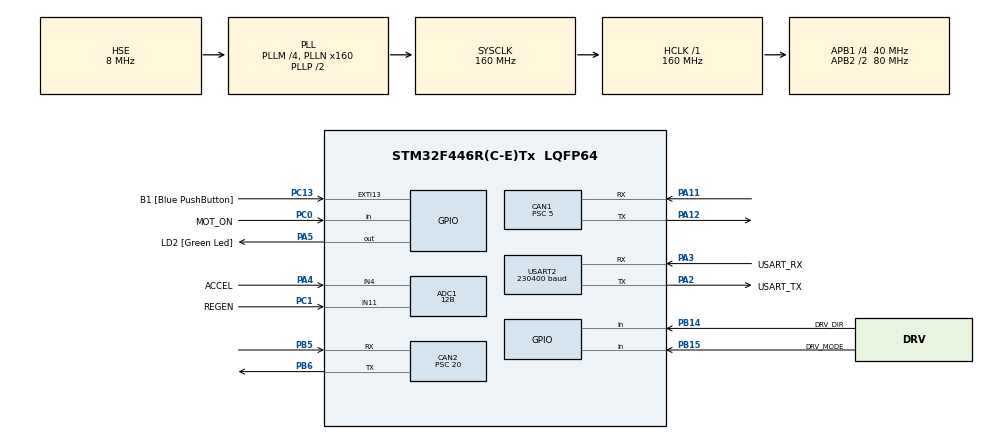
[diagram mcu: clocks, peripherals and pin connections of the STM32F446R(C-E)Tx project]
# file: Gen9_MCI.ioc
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ADC1.Channel-0\#ChannelRegularConversion=ADC_CHANNEL_4
ADC1.Channel-1\#ChannelRegularConversion=ADC_CHANNEL_11
ADC1.ClockPrescaler=ADC_CLOCK_SYNC_PCLK_DIV4
ADC1.ContinuousConvMode=DISABLE
ADC1.DMAContinuousRequests=DISABLE
ADC1.DataAlign=ADC_DATAALIGN_RIGHT
ADC1.DiscontinuousConvMode=DISABLE
ADC1.EOCSelection=ADC_EOC_SINGLE_CONV
ADC1.EnableAnalogWatchDog=false
ADC1.ExternalTrigConv=ADC_SOFTWARE_START
ADC1.ExternalTrigConvEdge=ADC_EXTERNALTRIGCONVEDGE_NONE
ADC1.InjNumberOfConversion=0
ADC1.NbrOfConversion=2
ADC1.NbrOfConversionFlag=1
ADC1.Rank-0\#ChannelRegularConversion=1
ADC1.Rank-1\#ChannelRegularConversion=2
ADC1.Resolution=ADC_RESOLUTION_12B
ADC1.SamplingTime-0\#ChannelRegularConversion=ADC_SAMPLETIME_56CYCLES
ADC1.SamplingTime-1\#ChannelRegularConversion=ADC_SAMPLETIME_56CYCLES
ADC1.ScanConvMode=ENABLE
ADC1.master=1
CAN1.ABOM=ENABLE
CAN1.AWUM=ENABLE
CAN1.BS1=CAN_BS1_13TQ
CAN1.BS2=CAN_BS2_2TQ
CAN1.CalculateTimeBit=2000
CAN1.CalculateTimeQuantum=125.0
CAN1.Mode=CAN_MODE_NORMAL
CAN1.Prescaler=5
CAN1.SJW=CAN_SJW_1TQ
CAN2.ABOM=ENABLE
CAN2.AWUM=ENABLE
CAN2.BS1=CAN_BS1_13TQ
CAN2.BS2=CAN_BS2_2TQ
CAN2.CalculateTimeBit=8000
CAN2.CalculateTimeQuantum=500.0
CAN2.Prescaler=20
Dma.ADC1.2.Direction=DMA_PERIPH_TO_MEMORY
Dma.ADC1.2.FIFOMode=DMA_FIFOMODE_DISABLE
Dma.ADC1.2.Instance=DMA2_Stream0
Dma.ADC1.2.MemDataAlignment=DMA_MDATAALIGN_HALFWORD
Dma.ADC1.2.MemInc=DMA_MINC_ENABLE
Dma.ADC1.2.Mode=DMA_NORMAL
Dma.ADC1.2.PeriphDataAlignment=DMA_PDATAALIGN_HALFWORD
Dma.ADC1.2.PeriphInc=DMA_PINC_DISABLE
Dma.ADC1.2.Priority=DMA_PRIORITY_LOW
Dma.Request0=USART2_RX
Dma.Request1=USART2_TX
Dma.Request2=ADC1
Dma.USART2_RX.0.Direction=DMA_PERIPH_TO_MEMORY
Dma.USART2_RX.0.FIFOMode=DMA_FIFOMODE_DISABLE
Dma.USART2_RX.0.Instance=DMA1_Stream5
Dma.USART2_RX.0.MemDataAlignment=DMA_MDATAALIGN_BYTE
Dma.USART2_RX.0.MemInc=DMA_MINC_ENABLE
Dma.USART2_RX.0.Mode=DMA_CIRCULAR
Dma.USART2_RX.0.PeriphDataAlignment=DMA_PDATAALIGN_BYTE
Dma.USART2_RX.0.PeriphInc=DMA_PINC_DISABLE
Dma.USART2_RX.0.Priority=DMA_PRIORITY_HIGH
Dma.USART2_TX.1.Direction=DMA_MEMORY_TO_PERIPH
Dma.USART2_TX.1.FIFOMode=DMA_FIFOMODE_DISABLE
Dma.USART2_TX.1.Instance=DMA1_Stream6
Dma.USART2_TX.1.MemDataAlignment=DMA_MDATAALIGN_BYTE
Dma.USART2_TX.1.MemInc=DMA_MINC_ENABLE
Dma.USART2_TX.1.Mode=DMA_NORMAL
Dma.USART2_TX.1.PeriphDataAlignment=DMA_PDATAALIGN_BYTE
Dma.USART2_TX.1.PeriphInc=DMA_PINC_DISABLE
Dma.USART2_TX.1.Priority=DMA_PRIORITY_MEDIUM
FREERTOS.INCLUDE_eTaskGetState=1
FREERTOS.INCLUDE_vTaskDelayUntil=1
FREERTOS.INCLUDE_xQueueGetMutexHolder=1
FREERTOS.INCLUDE_xSemaphoreGetMutexHolder=1
FREERTOS.INCLUDE_xTaskGetCurrentTaskHandle=1
FREERTOS.Mutexes01=swMtx,Dynamic,NULL;uartMtx,Dynamic,NULL
FREERTOS.Queues01=mainCanTxQ,32,Can_frame_t,NULL,Dynamic,NULL,NULL;mainCanRxQ,32,Can_frame_t,NULL,Dynamic,NULL,NULL;MotCanTxQ,32,Can_frame_t,NULL,Dynamic,NULL,NULL;motCanRxQ,32,Can_frame_t,NULL,Dynamic,NULL,NULL
FREERTOS.Tasks01=Motor_Ctrl,2,512,doMotCtrl,Default,NULL,Dynamic,NULL,NULL;Can_Processor,1,512,doProcessCan,Default,NULL,Dynamic,NULL,NULL;Housekeeping,-1,512,doHousekeeping,Default,NULL,Dynamic,NULL,NULL;Can2_Processor,0,512,doProcessorMotCan,Default,NULL,Dynamic,NULL,NULL
FREERTOS.Timers01=WWDGTmr,TmrKickDog,osTimerPeriodic,Default,NULL,Dynamic,NULL;HBTmr,TmrSendHB,osTimerPeriodic,Default,NULL,Dynamic,NULL
FREERTOS.configCHECK_FOR_STACK_OVERFLOW=2
FREERTOS.configENABLE_BACKWARD_COMPATIBILITY=0
FREERTOS.configMAX_PRIORITIES=7
FREERTOS.configMINIMAL_STACK_SIZE=512
FREERTOS.configTIMER_QUEUE_LENGTH=8
FREERTOS.configTIMER_TASK_PRIORITY=6
FREERTOS.configTIMER_TASK_STACK_DEPTH=512
FREERTOS.configTOTAL_HEAP_SIZE=65536
FREERTOS.configUSE_MALLOC_FAILED_HOOK=1
FREERTOS.configUSE_PORT_OPTIMISED_TASK_SELECTION=1
FREERTOS.configUSE_TASK_NOTIFICATIONS=0
FREERTOS.configUSE_TIMERS=1
FREERTOS.configUSE_TRACE_FACILITY=0
Mcu.Family=STM32F4
Mcu.Name=STM32F446R(C-E)Tx
Mcu.Package=LQFP64
NVIC.CAN1_RX0_IRQn=true\:5\:0\:false\:false\:true\:true\:true
NVIC.CAN1_RX1_IRQn=true\:5\:0\:false\:false\:true\:true\:true
NVIC.CAN1_SCE_IRQn=true\:5\:0\:false\:false\:true\:true\:true
NVIC.CAN1_TX_IRQn=true\:5\:0\:false\:false\:true\:true\:true
NVIC.CAN2_RX0_IRQn=true\:5\:0\:false\:false\:true\:true\:true
NVIC.CAN2_RX1_IRQn=true\:5\:0\:false\:false\:true\:true\:true
NVIC.CAN2_SCE_IRQn=true\:5\:0\:false\:false\:true\:true\:true
NVIC.CAN2_TX_IRQn=true\:5\:0\:false\:false\:true\:true\:true
NVIC.DMA1_Stream5_IRQn=true\:6\:0\:true\:false\:true\:true\:true
NVIC.DMA1_Stream6_IRQn=true\:6\:0\:true\:false\:true\:true\:true
NVIC.DMA2_Stream0_IRQn=true\:5\:0\:false\:false\:true\:true\:true
NVIC.PriorityGroup=NVIC_PRIORITYGROUP_4
NVIC.TIM6_DAC_IRQn=true\:0\:0\:false\:false\:true\:false\:true
NVIC.TimeBase=TIM6_DAC_IRQn
NVIC.TimeBaseIP=TIM6
NVIC.USART2_IRQn=true\:5\:0\:false\:false\:true\:true\:true
PA11.Mode=Master
PA11.Signal=CAN1_RX
PA12.Mode=Master
PA12.Signal=CAN1_TX
PA13.GPIO_Label=TMS
PA13.Mode=Serial_Wire
PA13.Signal=SYS_JTMS-SWDIO
PA14.GPIO_Label=TCK
PA14.Mode=Serial_Wire
PA14.Signal=SYS_JTCK-SWCLK
PA2.GPIO_Label=USART_TX
PA2.Mode=Asynchronous
PA2.Signal=USART2_TX
PA3.GPIO_Label=USART_RX
PA3.Mode=Asynchronous
PA3.Signal=USART2_RX
PA4.GPIO_Label=ACCEL
PA4.Signal=ADCx_IN4
PA5.GPIO_Label=LD2 [Green Led]
PA5.GPIO_Speed=GPIO_SPEED_FREQ_VERY_HIGH
PA5.Signal=GPIO_Output
PB14.GPIO_Label=DRV_DIR
PB14.GPIO_PuPd=GPIO_PULLUP
PB14.Signal=GPIO_Input
PB15.GPIO_Label=DRV_MODE
PB15.GPIO_PuPd=GPIO_PULLUP
PB15.Signal=GPIO_Input
PB5.Mode=Slave
PB5.Signal=CAN2_RX
PB6.Mode=Slave
PB6.Signal=CAN2_TX
PC0.GPIO_Label=MOT_ON
PC0.GPIO_PuPd=GPIO_PULLUP
PC0.Signal=GPIO_Input
PC1.GPIO_Label=REGEN
PC1.Signal=ADCx_IN11
PC13.GPIO_Label=B1 [Blue PushButton]
PC13.GPIO_ModeDefaultEXTI=GPIO_MODE_EVT_RISING
PC13.Signal=GPXTI13
PC14-OSC32_IN.Mode=LSE-External-Oscillator
PC14-OSC32_IN.Signal=RCC_OSC32_IN
PC15-OSC32_OUT.Mode=LSE-External-Oscillator
PC15-OSC32_OUT.Signal=RCC_OSC32_OUT
PH0-OSC_IN.Mode=HSE-External-Oscillator
PH0-OSC_IN.Signal=RCC_OSC_IN
PH1-OSC_OUT.Mode=HSE-External-Oscillator
PH1-OSC_OUT.Signal=RCC_OSC_OUT
ProjectManager.HeapSize=0x200
ProjectManager.StackSize=0x400
ProjectManager.TargetToolchain=EWARM
RCC.48MHZClocksFreq_Value=84000000
RCC.AHBFreq_Value=160000000
RCC.APB1CLKDivider=RCC_HCLK_DIV4
RCC.APB1Freq_Value=40000000
RCC.APB1TimFreq_Value=80000000
RCC.APB2CLKDivider=RCC_HCLK_DIV2
RCC.APB2Freq_Value=80000000
RCC.APB2TimFreq_Value=160000000
RCC.CortexFreq_Value=160000000
RCC.FLatency-AdvancedSettings=FLASH_LATENCY_5
RCC.HCLKFreq_Value=160000000
RCC.HSE_VALUE=8000000
RCC.HSI_VALUE=16000000
RCC.PLLM=4
RCC.PLLN=160
RCC.PLLSourceVirtual=RCC_PLLSOURCE_HSE
RCC.RCC_RTC_Clock_SourceVirtual=RCC_RTCCLKSOURCE_LSI
RCC.SYSCLKFreq_VALUE=160000000
RCC.SYSCLKSource=RCC_SYSCLKSOURCE_PLLCLK
RCC.USBFreq_Value=160000000
RCC.VCOOutputFreq_Value=320000000
SH.ADCx_IN11.0=ADC1_IN11,IN11
SH.ADCx_IN4.0=ADC1_IN4,IN4
USART2.BaudRate=230400
USART2.VirtualMode=VM_ASYNC
VP_FREERTOS_VS_ENABLE.Mode=Enabled
VP_SYS_VS_tim6.Mode=TIM6
VP_WWDG_VS_WWDG.Mode=WWDG_Activate
WWDG.Counter=127
WWDG.EWIMode=WWDG_EWI_ENABLE
WWDG.Prescaler=WWDG_PRESCALER_8
WWDG.Window=127
board=NUCLEO-F446RE

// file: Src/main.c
/**
  ******************************************************************************
  * File Name          : main.c
  * Description        : Main program body
  ******************************************************************************
  * This notice applies to any and all portions of this file
  * that are not between comment pairs USER CODE BEGIN and
  * USER CODE END. Other portions of this file, whether
  * inserted by the user or by software development tools
  * are owned by their respective copyright owners.
  *
  * Copyright (c) 2017 STMicroelectronics International N.V.
  * All rights reserved.
  *
  * Redistribution and use in source and binary forms, with or without
  * modification, are permitted, provided that the following conditions are met:
  *
  * 1. Redistribution of source code must retain the above copyright notice,
  *    this list of conditions and the following disclaimer.
  * 2. Redistributions in binary form must reproduce the above copyright notice,
  *    this list of conditions and the following disclaimer in the documentation
  *    and/or other materials provided with the distribution.
  * 3. Neither the name of STMicroelectronics nor the names of other
  *    contributors to this software may be used to endorse or promote products
  *    derived from this software without specific written permission.
  * 4. This software, including modifications and/or derivative works of this
  *    software, must execute solely and exclusively on microcontroller or
  *    microprocessor devices manufactured by or for STMicroelectronics.
  * 5. Redistribution and use of this software other than as permitted under
  *    this license is void and will automatically terminate your rights under
  *    this license.
  *
  * THIS SOFTWARE IS PROVIDED BY STMICROELECTRONICS AND CONTRIBUTORS "AS IS"
  * AND ANY EXPRESS, IMPLIED OR STATUTORY WARRANTIES, INCLUDING, BUT NOT
  * LIMITED TO, THE IMPLIED WARRANTIES OF MERCHANTABILITY, FITNESS FOR A
  * PARTICULAR PURPOSE AND NON-INFRINGEMENT OF THIRD PARTY INTELLECTUAL PROPERTY
  * RIGHTS ARE DISCLAIMED TO THE FULLEST EXTENT PERMITTED BY LAW. IN NO EVENT
  * SHALL STMICROELECTRONICS OR CONTRIBUTORS BE LIABLE FOR ANY DIRECT, INDIRECT,
  * INCIDENTAL, SPECIAL, EXEMPLARY, OR CONSEQUENTIAL DAMAGES (INCLUDING, BUT NOT
  * LIMITED TO, PROCUREMENT OF SUBSTITUTE GOODS OR SERVICES; LOSS OF USE, DATA,
  * OR PROFITS; OR BUSINESS INTERRUPTION) HOWEVER CAUSED AND ON ANY THEORY OF
  * LIABILITY, WHETHER IN CONTRACT, STRICT LIABILITY, OR TORT (INCLUDING
  * NEGLIGENCE OR OTHERWISE) ARISING IN ANY WAY OUT OF THE USE OF THIS SOFTWARE,
  * EVEN IF ADVISED OF THE POSSIBILITY OF SUCH DAMAGE.
  *
  ******************************************************************************
  */
#include "main.h"
#include "stm32f4xx_hal.h"
#include "cmsis_os.h"

/* USER CODE BEGIN Includes */
#include "../../CAN_ID.h"
#include "nodeConf.h"
#include "serial.h"
#include "can.h"
#include "can2.h"
// #include "Can_Processor.h"
#include "nodeMiscHelpers.h"
// #include "thermistor.h"
// #include "ts_lib.h"

/* USER CODE END Includes */

ADC_HandleTypeDef hadc1;
DMA_HandleTypeDef hdma_adc1;

CAN_HandleTypeDef hcan1;
CAN_HandleTypeDef hcan2;

UART_HandleTypeDef huart2;
DMA_HandleTypeDef hdma_usart2_rx;
DMA_HandleTypeDef hdma_usart2_tx;

WWDG_HandleTypeDef hwwdg;

osThreadId Motor_CtrlHandle;
osThreadId Can_ProcessorHandle;
osThreadId HousekeepingHandle;
osThreadId Can2_ProcessorHandle;
osMessageQId mainCanTxQHandle;
osMessageQId mainCanRxQHandle;
osMessageQId MotCanTxQHandle;
osMessageQId motCanRxQHandle;
osTimerId WWDGTmrHandle;
osTimerId HBTmrHandle;
osMutexId swMtxHandle;
osMutexId uartMtxHandle;

/* USER CODE BEGIN PV */
/* Private variables ---------------------------------------------------------*/
static uint16_t adcBuffer[8];
const uint32_t firmwareString = 0x00000001;			// Firmware Version string
const uint8_t selfNodeID = mc_nodeID;
uint32_t selfStatusWord = ACTIVE;	// Initialize
//TODO flaming can dumpster
/* USER CODE END PV */

void SystemClock_Config(void);
static void MX_GPIO_Init(void);
static void MX_DMA_Init(void);
static void MX_USART2_UART_Init(void);
static void MX_CAN1_Init(void);
static void MX_WWDG_Init(void);
static void MX_ADC1_Init(void);
static void MX_CAN2_Init(void);
void doMotCtrl(void const * argument);
void doProcessCan(void const * argument);
void doHousekeeping(void const * argument);
void doProcessorMotCan(void const * argument);
void TmrKickDog(void const * argument);
void TmrSendHB(void const * argument);

/* USER CODE BEGIN PFP */
/* Private function prototypes -----------------------------------------------*/
void HAL_CAN_TxCpltCallback(CAN_HandleTypeDef* hcan);
void HAL_CAN_RxCpltCallback(CAN_HandleTypeDef* hcan);
void HAL_CAN_ErrorCallback(CAN_HandleTypeDef * hcan);
void HAL_GPIO_EXTI_Callback(uint16_t pinNum);
void HAL_WWDG_EarlyWakeupCallback(WWDG_HandleTypeDef* hwwdg);

void EM_Init();
/* USER CODE END PFP */

int main(void)
{

  /* USER CODE BEGIN 1 */
	#define DISABLE_RT
  /* USER CODE END 1 */

  /* MCU Configuration----------------------------------------------------------*/

  /* Reset of all peripherals, Initializes the Flash interface and the Systick. */
  HAL_Init();

  /* Configure the system clock */
  SystemClock_Config();

  /* Initialize all configured peripherals */
  MX_GPIO_Init();
  MX_DMA_Init();
  MX_USART2_UART_Init();
  MX_CAN1_Init();
  MX_WWDG_Init();
  MX_ADC1_Init();
  MX_CAN2_Init();

  /* USER CODE BEGIN 2 */

	Serial2_begin();

	bxCan_begin(&hcan1, &mainCanRxQHandle, &mainCanTxQHandle);
	bxCan_addMaskedFilterStd(p2pOffset,0xFF0,0);

	bxCan2_begin(&hcan2, &motCanRxQHandle, &MotCanTxQHandle);
	bxCan2_addMaskedFilterStd(p2pOffset,0xFF0,0);
	// bxCan2_addMaskedFilterStd(0,0,0);
	// bxCan2_addMaskedFilterExt(0,0,0);

  /* USER CODE END 2 */

  /* Create the mutex(es) */
  /* definition and creation of swMtx */
  osMutexDef(swMtx);
  swMtxHandle = osMutexCreate(osMutex(swMtx));

  /* definition and creation of uartMtx */
  osMutexDef(uartMtx);
  uartMtxHandle = osMutexCreate(osMutex(uartMtx));

  /* Create the timer(s) */
  /* definition and creation of WWDGTmr */
  osTimerDef(WWDGTmr, TmrKickDog);
  WWDGTmrHandle = osTimerCreate(osTimer(WWDGTmr), osTimerPeriodic, NULL);

  /* definition and creation of HBTmr */
  osTimerDef(HBTmr, TmrSendHB);
  HBTmrHandle = osTimerCreate(osTimer(HBTmr), osTimerPeriodic, NULL);

  /* USER CODE BEGIN RTOS_TIMERS */
  /* start timers, add new ones, ... */
  osTimerStart(WWDGTmrHandle, WD_Interval);
  osTimerStart(HBTmrHandle, HB_Interval);
  /* USER CODE END RTOS_TIMERS */

  /* Create the thread(s) */
  /* definition and creation of Motor_Ctrl */
  osThreadDef(Motor_Ctrl, doMotCtrl, osPriorityHigh, 0, 512);
  Motor_CtrlHandle = osThreadCreate(osThread(Motor_Ctrl), NULL);

  /* definition and creation of Can_Processor */
  osThreadDef(Can_Processor, doProcessCan, osPriorityAboveNormal, 0, 512);
  Can_ProcessorHandle = osThreadCreate(osThread(Can_Processor), NULL);

  /* definition and creation of Housekeeping */
  osThreadDef(Housekeeping, doHousekeeping, osPriorityBelowNormal, 0, 512);
  HousekeepingHandle = osThreadCreate(osThread(Housekeeping), NULL);

  /* definition and creation of Can2_Processor */
  osThreadDef(Can2_Processor, doProcessorMotCan, osPriorityNormal, 0, 512);
  Can2_ProcessorHandle = osThreadCreate(osThread(Can2_Processor), NULL);

  /* Create the queue(s) */
  /* definition and creation of mainCanTxQ */
  osMessageQDef(mainCanTxQ, 32, Can_frame_t);
  mainCanTxQHandle = osMessageCreate(osMessageQ(mainCanTxQ), NULL);

  /* definition and creation of mainCanRxQ */
  osMessageQDef(mainCanRxQ, 32, Can_frame_t);
  mainCanRxQHandle = osMessageCreate(osMessageQ(mainCanRxQ), NULL);

  /* definition and creation of MotCanTxQ */
  osMessageQDef(MotCanTxQ, 32, Can_frame_t);
  MotCanTxQHandle = osMessageCreate(osMessageQ(MotCanTxQ), NULL);

  /* definition and creation of motCanRxQ */
  osMessageQDef(motCanRxQ, 32, Can_frame_t);
  motCanRxQHandle = osMessageCreate(osMessageQ(motCanRxQ), NULL);

  /* Start scheduler */
  osKernelStart();

  /* We should never get here as control is now taken by the scheduler */

  /* Infinite loop */
  while (1)
  {

  }

}

/** System Clock Configuration
*/
void SystemClock_Config(void)
{

  RCC_OscInitTypeDef RCC_OscInitStruct;
  RCC_ClkInitTypeDef RCC_ClkInitStruct;

    /**Configure the main internal regulator output voltage
    */
  __HAL_RCC_PWR_CLK_ENABLE();

  __HAL_PWR_VOLTAGESCALING_CONFIG(PWR_REGULATOR_VOLTAGE_SCALE1);

    /**Initializes the CPU, AHB and APB busses clocks
    */
  RCC_OscInitStruct.OscillatorType = RCC_OSCILLATORTYPE_HSE;
  RCC_OscInitStruct.HSEState = RCC_HSE_ON;
  RCC_OscInitStruct.PLL.PLLState = RCC_PLL_ON;
  RCC_OscInitStruct.PLL.PLLSource = RCC_PLLSOURCE_HSE;
  RCC_OscInitStruct.PLL.PLLM = 4;
  RCC_OscInitStruct.PLL.PLLN = 160;
  RCC_OscInitStruct.PLL.PLLP = RCC_PLLP_DIV2;
  RCC_OscInitStruct.PLL.PLLQ = 2;
  RCC_OscInitStruct.PLL.PLLR = 2;
  if (HAL_RCC_OscConfig(&RCC_OscInitStruct) != HAL_OK)
  {
    _Error_Handler(__FILE__, __LINE__);
  }

    /**Initializes the CPU, AHB and APB busses clocks
    */
  RCC_ClkInitStruct.ClockType = RCC_CLOCKTYPE_HCLK|RCC_CLOCKTYPE_SYSCLK
                              |RCC_CLOCKTYPE_PCLK1|RCC_CLOCKTYPE_PCLK2;
  RCC_ClkInitStruct.SYSCLKSource = RCC_SYSCLKSOURCE_PLLCLK;
  RCC_ClkInitStruct.AHBCLKDivider = RCC_SYSCLK_DIV1;
  RCC_ClkInitStruct.APB1CLKDivider = RCC_HCLK_DIV4;
  RCC_ClkInitStruct.APB2CLKDivider = RCC_HCLK_DIV2;

  if (HAL_RCC_ClockConfig(&RCC_ClkInitStruct, FLASH_LATENCY_5) != HAL_OK)
  {
    _Error_Handler(__FILE__, __LINE__);
  }

    /**Configure the Systick interrupt time
    */
  HAL_SYSTICK_Config(HAL_RCC_GetHCLKFreq()/1000);

    /**Configure the Systick
    */
  HAL_SYSTICK_CLKSourceConfig(SYSTICK_CLKSOURCE_HCLK);

  /* SysTick_IRQn interrupt configuration */
  HAL_NVIC_SetPriority(SysTick_IRQn, 15, 0);
}

/* ADC1 init function */
static void MX_ADC1_Init(void)
{

  ADC_ChannelConfTypeDef sConfig;

    /**Configure the global features of the ADC (Clock, Resolution, Data Alignment and number of conversion)
    */
  hadc1.Instance = ADC1;
  hadc1.Init.ClockPrescaler = ADC_CLOCK_SYNC_PCLK_DIV4;
  hadc1.Init.Resolution = ADC_RESOLUTION_12B;
  hadc1.Init.ScanConvMode = ENABLE;
  hadc1.Init.ContinuousConvMode = DISABLE;
  hadc1.Init.DiscontinuousConvMode = DISABLE;
  hadc1.Init.ExternalTrigConvEdge = ADC_EXTERNALTRIGCONVEDGE_NONE;
  hadc1.Init.ExternalTrigConv = ADC_SOFTWARE_START;
  hadc1.Init.DataAlign = ADC_DATAALIGN_RIGHT;
  hadc1.Init.NbrOfConversion = 2;
  hadc1.Init.DMAContinuousRequests = DISABLE;
  hadc1.Init.EOCSelection = ADC_EOC_SINGLE_CONV;
  if (HAL_ADC_Init(&hadc1) != HAL_OK)
  {
    _Error_Handler(__FILE__, __LINE__);
  }

    /**Configure for the selected ADC regular channel its corresponding rank in the sequencer and its sample time.
    */
  sConfig.Channel = ADC_CHANNEL_4;
  sConfig.Rank = 1;
  sConfig.SamplingTime = ADC_SAMPLETIME_56CYCLES;
  if (HAL_ADC_ConfigChannel(&hadc1, &sConfig) != HAL_OK)
  {
    _Error_Handler(__FILE__, __LINE__);
  }

    /**Configure for the selected ADC regular channel its corresponding rank in the sequencer and its sample time.
    */
  sConfig.Channel = ADC_CHANNEL_11;
  sConfig.Rank = 2;
  if (HAL_ADC_ConfigChannel(&hadc1, &sConfig) != HAL_OK)
  {
    _Error_Handler(__FILE__, __LINE__);
  }

}

/* CAN1 init function */
static void MX_CAN1_Init(void)
{

  hcan1.Instance = CAN1;
  hcan1.Init.Prescaler = 5;
  hcan1.Init.Mode = CAN_MODE_NORMAL;
  hcan1.Init.SJW = CAN_SJW_1TQ;
  hcan1.Init.BS1 = CAN_BS1_13TQ;
  hcan1.Init.BS2 = CAN_BS2_2TQ;
  hcan1.Init.TTCM = DISABLE;
  hcan1.Init.ABOM = ENABLE;
  hcan1.Init.AWUM = ENABLE;
  hcan1.Init.NART = DISABLE;
  hcan1.Init.RFLM = DISABLE;
  hcan1.Init.TXFP = DISABLE;
  if (HAL_CAN_Init(&hcan1) != HAL_OK)
  {
    _Error_Handler(__FILE__, __LINE__);
  }

}

/* CAN2 init function */
static void MX_CAN2_Init(void)
{

  hcan2.Instance = CAN2;
  hcan2.Init.Prescaler = 20;
  hcan2.Init.Mode = CAN_MODE_NORMAL;
  hcan2.Init.SJW = CAN_SJW_1TQ;
  hcan2.Init.BS1 = CAN_BS1_13TQ;
  hcan2.Init.BS2 = CAN_BS2_2TQ;
  hcan2.Init.TTCM = DISABLE;
  hcan2.Init.ABOM = ENABLE;
  hcan2.Init.AWUM = ENABLE;
  hcan2.Init.NART = DISABLE;
  hcan2.Init.RFLM = DISABLE;
  hcan2.Init.TXFP = DISABLE;
  if (HAL_CAN_Init(&hcan2) != HAL_OK)
  {
    _Error_Handler(__FILE__, __LINE__);
  }

}

/* USART2 init function */
static void MX_USART2_UART_Init(void)
{

  huart2.Instance = USART2;
  huart2.Init.BaudRate = 230400;
  huart2.Init.WordLength = UART_WORDLENGTH_8B;
  huart2.Init.StopBits = UART_STOPBITS_1;
  huart2.Init.Parity = UART_PARITY_NONE;
  huart2.Init.Mode = UART_MODE_TX_RX;
  huart2.Init.HwFlowCtl = UART_HWCONTROL_NONE;
  huart2.Init.OverSampling = UART_OVERSAMPLING_16;
  if (HAL_UART_Init(&huart2) != HAL_OK)
  {
    _Error_Handler(__FILE__, __LINE__);
  }

}

/* WWDG init function */
static void MX_WWDG_Init(void)
{

  hwwdg.Instance = WWDG;
  hwwdg.Init.Prescaler = WWDG_PRESCALER_8;
  hwwdg.Init.Window = 127;
  hwwdg.Init.Counter = 127;
  hwwdg.Init.EWIMode = WWDG_EWI_ENABLE;
  if (HAL_WWDG_Init(&hwwdg) != HAL_OK)
  {
    _Error_Handler(__FILE__, __LINE__);
  }

}

static void MX_DMA_Init(void)
{
  /* DMA controller clock enable */
  __HAL_RCC_DMA1_CLK_ENABLE();
  __HAL_RCC_DMA2_CLK_ENABLE();

  /* DMA interrupt init */
  /* DMA1_Stream5_IRQn interrupt configuration */
  HAL_NVIC_SetPriority(DMA1_Stream5_IRQn, 6, 0);
  HAL_NVIC_EnableIRQ(DMA1_Stream5_IRQn);
  /* DMA1_Stream6_IRQn interrupt configuration */
  HAL_NVIC_SetPriority(DMA1_Stream6_IRQn, 6, 0);
  HAL_NVIC_EnableIRQ(DMA1_Stream6_IRQn);
  /* DMA2_Stream0_IRQn interrupt configuration */
  HAL_NVIC_SetPriority(DMA2_Stream0_IRQn, 5, 0);
  HAL_NVIC_EnableIRQ(DMA2_Stream0_IRQn);

}

/** Configure pins as
        * Analog
        * Input
        * Output
        * EVENT_OUT
        * EXTI
        * Free pins are configured automatically as Analog (this feature is enabled through
        * the Code Generation settings)
*/
static void MX_GPIO_Init(void)
{

  GPIO_InitTypeDef GPIO_InitStruct;

  /* GPIO Ports Clock Enable */
  __HAL_RCC_GPIOC_CLK_ENABLE();
  __HAL_RCC_GPIOH_CLK_ENABLE();
  __HAL_RCC_GPIOA_CLK_ENABLE();
  __HAL_RCC_GPIOB_CLK_ENABLE();
  __HAL_RCC_GPIOD_CLK_ENABLE();

  /*Configure GPIO pin Output Level */
  HAL_GPIO_WritePin(LD2_GPIO_Port, LD2_Pin, GPIO_PIN_RESET);

  /*Configure GPIO pin : B1_Pin */
  GPIO_InitStruct.Pin = B1_Pin;
  GPIO_InitStruct.Mode = GPIO_MODE_EVT_RISING;
  GPIO_InitStruct.Pull = GPIO_NOPULL;
  HAL_GPIO_Init(B1_GPIO_Port, &GPIO_InitStruct);

  /*Configure GPIO pin : MOT_ON_Pin */
  GPIO_InitStruct.Pin = MOT_ON_Pin;
  GPIO_InitStruct.Mode = GPIO_MODE_INPUT;
  GPIO_InitStruct.Pull = GPIO_PULLUP;
  HAL_GPIO_Init(MOT_ON_GPIO_Port, &GPIO_InitStruct);

  /*Configure GPIO pins : PC2 PC3 PC4 PC5
                           PC6 PC7 PC8 PC9
                           PC10 PC11 PC12 */
  GPIO_InitStruct.Pin = GPIO_PIN_2|GPIO_PIN_3|GPIO_PIN_4|GPIO_PIN_5
                          |GPIO_PIN_6|GPIO_PIN_7|GPIO_PIN_8|GPIO_PIN_9
                          |GPIO_PIN_10|GPIO_PIN_11|GPIO_PIN_12;
  GPIO_InitStruct.Mode = GPIO_MODE_ANALOG;
  GPIO_InitStruct.Pull = GPIO_NOPULL;
  HAL_GPIO_Init(GPIOC, &GPIO_InitStruct);

  /*Configure GPIO pins : PA0 PA1 PA6 PA7
                           PA8 PA9 PA10 PA15 */
  GPIO_InitStruct.Pin = GPIO_PIN_0|GPIO_PIN_1|GPIO_PIN_6|GPIO_PIN_7
                          |GPIO_PIN_8|GPIO_PIN_9|GPIO_PIN_10|GPIO_PIN_15;
  GPIO_InitStruct.Mode = GPIO_MODE_ANALOG;
  GPIO_InitStruct.Pull = GPIO_NOPULL;
  HAL_GPIO_Init(GPIOA, &GPIO_InitStruct);

  /*Configure GPIO pin : LD2_Pin */
  GPIO_InitStruct.Pin = LD2_Pin;
  GPIO_InitStruct.Mode = GPIO_MODE_OUTPUT_PP;
  GPIO_InitStruct.Pull = GPIO_NOPULL;
  GPIO_InitStruct.Speed = GPIO_SPEED_FREQ_VERY_HIGH;
  HAL_GPIO_Init(LD2_GPIO_Port, &GPIO_InitStruct);

  /*Configure GPIO pins : PB0 PB1 PB2 PB10
                           PB12 PB13 PB3 PB4
                           PB7 PB8 PB9 */
  GPIO_InitStruct.Pin = GPIO_PIN_0|GPIO_PIN_1|GPIO_PIN_2|GPIO_PIN_10
                          |GPIO_PIN_12|GPIO_PIN_13|GPIO_PIN_3|GPIO_PIN_4
                          |GPIO_PIN_7|GPIO_PIN_8|GPIO_PIN_9;
  GPIO_InitStruct.Mode = GPIO_MODE_ANALOG;
  GPIO_InitStruct.Pull = GPIO_NOPULL;
  HAL_GPIO_Init(GPIOB, &GPIO_InitStruct);

  /*Configure GPIO pins : DRV_DIR_Pin DRV_MODE_Pin */
  GPIO_InitStruct.Pin = DRV_DIR_Pin|DRV_MODE_Pin;
  GPIO_InitStruct.Mode = GPIO_MODE_INPUT;
  GPIO_InitStruct.Pull = GPIO_PULLUP;
  HAL_GPIO_Init(GPIOB, &GPIO_InitStruct);

  /*Configure GPIO pin : PD2 */
  GPIO_InitStruct.Pin = GPIO_PIN_2;
  GPIO_InitStruct.Mode = GPIO_MODE_ANALOG;
  GPIO_InitStruct.Pull = GPIO_NOPULL;
  HAL_GPIO_Init(GPIOD, &GPIO_InitStruct);

}

/* USER CODE BEGIN 4 */
void HAL_CAN_TxCpltCallback(CAN_HandleTypeDef* hcan){
	if (hcan == &hcan1)
		CAN1_TxCpltCallback(hcan);
	if (hcan == &hcan2)
		CAN2_TxCpltCallback(hcan);
}

void HAL_CAN_RxCpltCallback(CAN_HandleTypeDef* hcan){
	if (hcan == &hcan1)
		CAN1_RxCpltCallback(hcan);
	if (hcan == &hcan2)
		CAN2_RxCpltCallback(hcan);
}

void HAL_CAN_ErrorCallback(CAN_HandleTypeDef *hcan){
	if (hcan == &hcan1)
		CAN1_ErrorCallback(hcan);
	if (hcan == &hcan2)
		CAN2_ErrorCallback(hcan);
}

void HAL_WWDG_EarlyWakeupCallback(WWDG_HandleTypeDef* hwwdg){
}

void HAL_ADC_ConvCpltCallback(ADC_HandleTypeDef* hadc){
	HAL_ADC_Stop_DMA(hadc);
	HAL_ADC_Start_DMA(hadc, (uint32_t*)adcBuffer, 2); //dw about ptr types. NEVER dma more than sequenced!
}

/* USER CODE END 4 */

/* doMotCtrl function */
void doMotCtrl(void const * argument)
{

  /* USER CODE BEGIN 5 */
	#define MOT_BASE_ID		0x500
	#define MOT_DRV_CMD_ID	MOT_BASE_ID + 0x01
	#define MOT_PWR_CMD_ID	MOT_BASE_ID + 0x02
	#define MOT_RST_CMD_ID	MOT_BASE_ID + 0x03
	#define POS_100			70
	#define POS_0			20
	#define MAX_RPM			700

	Can_frame_t newFrame;
	static uint16_t accel;
	static uint16_t regen;

	uint32_t val_100 = 0xfff;
	uint32_t map_100 = val_100*POS_100/100;
	uint32_t map_0 = val_100*POS_0/100;
	uint32_t map_range = map_100-map_0;
	uint8_t lastMotOn = 0;
	uint8_t lastDrvDir = 0;
	uint8_t lastDrvMode = 0;
	uint8_t motOn, drvDir, drvMode;

	newFrame.dlc = 8;
	newFrame.isExt = 0;
	newFrame.isRemote = 0;
	float* frameData = (float*)newFrame.Data;
	HAL_ADC_Start_DMA(&hadc1, (uint32_t*)adcBuffer, 2);

	for(;;){
		osDelay(50);
		motOn = (HAL_GPIO_ReadPin(MOT_ON_GPIO_Port, MOT_ON_Pin))?0:1;
		//process motOn state
		if(!lastMotOn && motOn || lastMotOn && !motOn){
			newFrame.id = MOT_RST_CMD_ID;
			bxCan2_sendFrame(&newFrame);
		}else if(motOn){
			newFrame.id = MOT_PWR_CMD_ID;
			frameData[0] = 1.0f;
			frameData[1] = 1.0f;
			bxCan2_sendFrame(&newFrame);
			newFrame.id = MOT_DRV_CMD_ID;
			drvDir = HAL_GPIO_ReadPin(DRV_DIR_GPIO_Port, DRV_DIR_Pin);
			drvMode = HAL_GPIO_ReadPin(DRV_MODE_GPIO_Port, DRV_MODE_Pin);
			accel = adcBuffer[0];
			regen = adcBuffer[1];
			float temp;
			float temp2;

			//get float values
			if(accel< map_0){
				temp = 0.0f;
			}else if(accel<= map_100){
				temp = (float)(accel - map_0)/(float)map_range;
			}else{
				temp = 1.0f;
			}
			if(regen< map_0){
				temp2 = 0.0f;
			}else if(accel<= map_100){
				temp2 = (float)(accel - map_0)/(float)map_range;
			}else{
				temp2 = 1.0f;
			}

			//state machine
			if(temp2 > 0.0f){ //regen mode
				frameData[0] = 0.0f;
				for(int i=0; i<4; i++){
					((uint32_t*)frameData)[1] &= ~(0xff<<(8*i));
					((uint32_t*)frameData)[1] |= *((uint32_t*)&temp2)&(0xff<<(8*i));
				}
			}else if(!drvMode){ //speed drive
				frameData[1] = 1.0f;
				temp*=MAX_RPM;
				for(int i=0; i<4; i++){
					((uint32_t*)frameData)[0] &= ~(0xff<<(8*i));
					((uint32_t*)frameData)[0] |= *((uint32_t*)&temp)&(0xff<<(8*i));
				}
			}else{ //current drive
				for(int i=0; i<4; i++){
					((uint32_t*)frameData)[1] &= ~(0xff<<(8*i));
					((uint32_t*)frameData)[1] |= *((uint32_t*)&temp)&(0xff<<(8*i));
				}
				frameData[0] = 20000.0f;
			}

			//flip direction
			if(drvDir){
				for(int i=0; i<4; i++){
					*((uint32_t*)&temp) &= ~(0xff<<(8*i));
					*((uint32_t*)&temp) |= ((uint32_t*)frameData)[0]&(0xff<<(8*i));
				}
				temp *=  -1;
				for(int i=0; i<4; i++){
					((uint32_t*)frameData)[0] &= ~(0xff<<(8*i));
					((uint32_t*)frameData)[0] |= *((uint32_t*)&temp)&(0xff<<(8*i));
				}
			}
			lastDrvDir = drvDir;
			lastDrvMode = drvMode;
			bxCan2_sendFrame(&newFrame);
		}
		lastMotOn = motOn;
	}
  /* USER CODE END 5 */
}

/* doProcessCan function */
void doProcessCan(void const * argument)
{
  /* USER CODE BEGIN doProcessCan */
	for(;;){
		osDelay(10000);
	}
  /* USER CODE END doProcessCan */
}

/* doHousekeeping function */
void doHousekeeping(void const * argument)
{
  /* USER CODE BEGIN doHousekeeping */
	static int bamboozle;
	bamboozle = 0;
	static int bamboozle2;
	bamboozle2 = 0;
	/* Infinite loop */
	for(;;){
		if(hcan1.State == HAL_CAN_STATE_READY || hcan1.State == HAL_CAN_STATE_BUSY_TX || \
		hcan1.State == HAL_CAN_STATE_TIMEOUT || hcan1.State == HAL_CAN_STATE_ERROR){
			bamboozle++;
		}else{
			bamboozle = 0;
		}
		if(bamboozle > 8){
			HAL_CAN_Receive_IT(&hcan1, 0);
		}
		if(bamboozle > 12){
			NVIC_SystemReset();
		}

		if(hcan2.State == HAL_CAN_STATE_READY || hcan2.State == HAL_CAN_STATE_BUSY_TX || \
		hcan2.State == HAL_CAN_STATE_TIMEOUT || hcan2.State == HAL_CAN_STATE_ERROR){
			bamboozle2++;
		}else{
			bamboozle2 = 0;
		}
		if(bamboozle2 > 8){
			HAL_CAN_Receive_IT(&hcan2, 0);
		}
		if(bamboozle2 > 12){
			NVIC_SystemReset();
		}

		osDelay(23);    //nice prime number
	}
  /* USER CODE END doHousekeeping */
}

/* doProcessorMotCan function */
void doProcessorMotCan(void const * argument)
{
  /* USER CODE BEGIN doProcessorMotCan */
  /* Infinite loop */
  for(;;)
  {
    osDelay(10000);
  }
  /* USER CODE END doProcessorMotCan */
}

/* TmrKickDog function */
void TmrKickDog(void const * argument)
{
  /* USER CODE BEGIN TmrKickDog */
	taskENTER_CRITICAL();
	HAL_WWDG_Refresh(&hwwdg);
	taskEXIT_CRITICAL();
  /* USER CODE END TmrKickDog */
}

/* TmrSendHB function */
void TmrSendHB(void const * argument)
{
  /* USER CODE BEGIN TmrSendHB */
	static Can_frame_t newFrame;
	newFrame.isExt = 0;
	newFrame.isRemote = 0;

	if(getSelfState() == ACTIVE){
		// Assemble new heartbeat frame
		newFrame.id = selfNodeID + swOffset;
		newFrame.dlc = CAN_HB_DLC;
		for(int i=0; i<4; i++){
			newFrame.Data[3-i] = (selfStatusWord >> (8*i)) & 0xff;	// Convert uint32_t -> uint8_t
		}
		bxCan_sendFrame(&newFrame);
		#ifdef DEBUG
			static uint8_t hbmsg[] = "Heartbeat issued\n";
			Serial2_writeBytes(hbmsg, sizeof(hbmsg)-1);
		#endif
	}
	else if (getSelfState() == INIT){
		// Assemble new addition request (firmware version) frame
		newFrame.id = selfNodeID + fwOffset;
		newFrame.dlc = CAN_FW_DLC;
		for(int i=0; i<4; i++){
			newFrame.Data[3-i] = (firmwareString >> (8*i)) & 0xff;			// Convert uint32_t -> uint8_t
		}
		bxCan_sendFrame(&newFrame);
		#ifdef DEBUG
			static uint8_t hbmsg[] = "Init handshake issued\n";
			Serial2_writeBytes(hbmsg, sizeof(hbmsg)-1);
		#endif
	}
	// No heartbeats sent in other states
  /* USER CODE END TmrSendHB */
}

void HAL_TIM_PeriodElapsedCallback(TIM_HandleTypeDef *htim)
{
  if (htim->Instance == TIM6) {
    HAL_IncTick();
  }
}

void _Error_Handler(char * file, int line)
{
  while(1)
  {
  }
}

/************************ (C) COPYRIGHT STMicroelectronics *****END OF FILE****/
